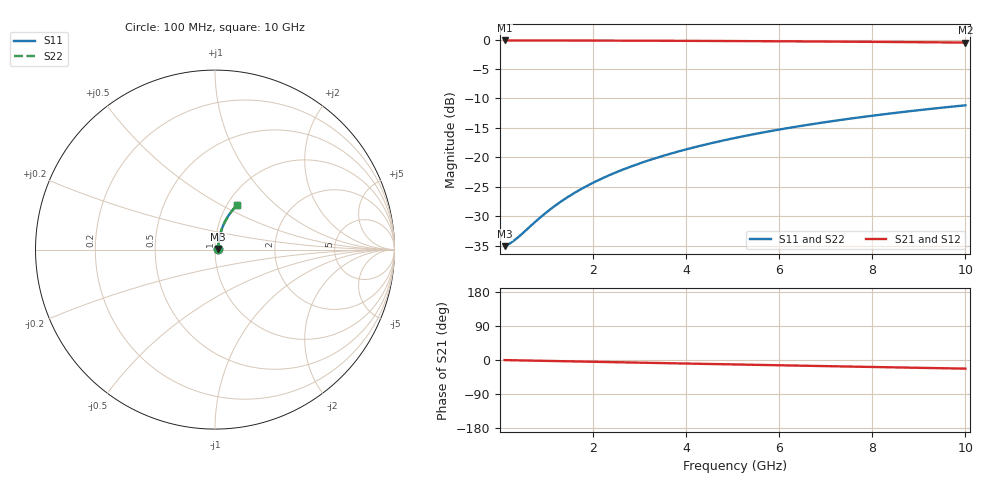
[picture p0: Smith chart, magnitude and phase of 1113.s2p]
# Hz S RI R 50.00
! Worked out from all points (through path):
!   100 points, 100 MHz to 10 GHz, reference 50 ohm
!   highest |S21| = -0.15 dB at 100 MHz (marker M1); lowest = -0.5 dB at 10 GHz (marker M2)
!   group delay of S21, straight-line fit = 6.34 ps
!   lowest |S11| = -35.1 dB at 100 MHz (marker M3), VSWR 1.04, Z = 51.8 + j0.294 ohm
!   |S11| at or under -10 dB: start of sweep to end of sweep
!   |S22| runs from -35.1 to -11.2 dB; largest |S21 - S12| = 0
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1e8  0.0174 0.00284  0.9826 -0.00401  0.9826 -0.00401  0.0174 0.00284
2e8  0.0176 0.00568  0.9824 -0.00803  0.9824 -0.00803  0.0176 0.00568
3e8  0.0177 0.00852  0.9823 -0.012  0.9823 -0.012  0.0177 0.00852
4e8  0.0178 0.0114  0.9821 -0.016  0.9821 -0.016  0.0178 0.0114
9e8  0.0188 0.0255  0.9811 -0.0361  0.9811 -0.0361  0.0188 0.0255
1.2e9  0.0197 0.034  0.9802 -0.0481  0.9802 -0.0481  0.0197 0.034
1.5e9  0.0207 0.0424  0.9791 -0.06  0.9791 -0.06  0.0207 0.0424
1.8e9  0.0219 0.0509  0.9779 -0.0719  0.9779 -0.0719  0.0219 0.0509
2.1e9  0.0233 0.0592  0.9764 -0.0838  0.9764 -0.0838  0.0233 0.0592
2.5e9  0.0255 0.0703  0.974 -0.0996  0.974 -0.0996  0.0255 0.0703
2.9e9  0.028 0.0813  0.9713 -0.1153  0.9713 -0.1153  0.028 0.0813
3.4e9  0.0317 0.0949  0.9675 -0.1347  0.9675 -0.1347  0.0317 0.0949
3.8e9  0.035 0.1056  0.9639 -0.1502  0.9639 -0.1502  0.035 0.1056
4.2e9  0.0387 0.1162  0.9601 -0.1654  0.9601 -0.1654  0.0387 0.1162
4.6e9  0.0426 0.1267  0.9559 -0.1806  0.9559 -0.1806  0.0426 0.1267
5.1e9  0.048 0.1395  0.9501 -0.1993  0.9501 -0.1993  0.048 0.1395
5.9e9  0.0577 0.1594  0.9398 -0.2286  0.9398 -0.2286  0.0577 0.1594
6.7e9  0.0685 0.1785  0.9283 -0.2572  0.9283 -0.2572  0.0685 0.1785
7.5e9  0.0804 0.1968  0.9156 -0.2849  0.9156 -0.2849  0.0804 0.1968
8.4e9  0.095 0.2162  0.9 -0.3149  0.9 -0.3149  0.095 0.2162
9.2e9  0.1089 0.2324  0.8851 -0.3406  0.8851 -0.3406  0.1089 0.2324
1e10  0.1237 0.2475  0.8692 -0.3652  0.8692 -0.3652  0.1237 0.2475
